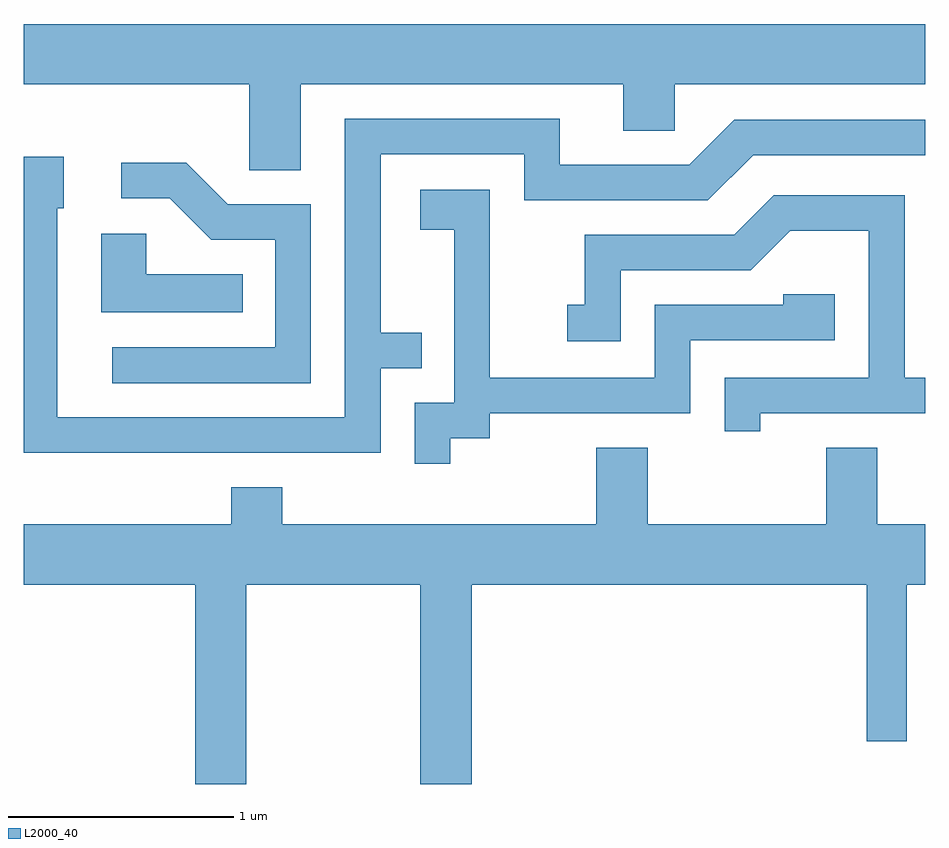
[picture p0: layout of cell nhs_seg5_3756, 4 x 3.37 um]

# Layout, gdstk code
import gdstk
lib = gdstk.Library(unit=1e-6, precision=1e-09)
def P(c, l, *ps):  # polygons
    for p in ps: c.add(gdstk.Polygon(p, *l))
L2000_40 = (2000, 40)

nhs_seg5_3756 = lib.new_cell('nhs_seg5_3756')
P(nhs_seg5_3756, L2000_40, [(295.611,1521.176),(296.611,1521.176),(296.611,1520.796),(296.839,1520.796),(296.839,1521.176),(298.271,1521.176),(298.271,1520.971),(298.499,1520.971),(298.499,1521.176),(299.611,1521.176),(299.611,1521.444),(295.611,1521.444)],
  [(297.194,1519.916),(297.378,1519.916),(297.378,1520.074),(297.194,1520.074),(297.194,1520.866),(297.831,1520.866),(297.831,1520.661),(298.647,1520.661),(298.847,1520.861),(299.611,1520.861),(299.611,1521.019),(298.764,1521.019),(298.564,1520.819),(297.989,1520.819),(297.989,1521.024),(297.036,1521.024),(297.036,1519.699),(295.759,1519.699),(295.759,1520.626),(295.789,1520.626),(295.789,1520.854),(295.611,1520.854),(295.611,1519.541),(297.194,1519.541)],
  [(296.884,1520.644),(296.517,1520.644),(296.332,1520.829),(296.043,1520.829),(296.043,1520.671),(296.259,1520.671),(296.444,1520.486),(296.726,1520.486),(296.726,1520.009),(296.003,1520.009),(296.003,1519.851),(296.884,1519.851)],
  [(297.504,1519.606),(297.679,1519.606),(297.679,1519.716),(298.569,1519.716),(298.569,1520.041),(299.209,1520.041),(299.209,1520.244),(298.981,1520.244),(298.981,1520.199),(298.411,1520.199),(298.411,1519.874),(297.679,1519.874),(297.679,1520.709),(297.371,1520.709),(297.371,1520.531),(297.521,1520.531),(297.521,1519.764),(297.346,1519.764),(297.346,1519.493),(297.504,1519.493)],
  [(298.879,1519.716),(299.611,1519.716),(299.611,1519.874),(299.519,1519.874),(299.519,1520.684),(298.939,1520.684),(298.764,1520.509),(298.101,1520.509),(298.101,1520.199),(298.023,1520.199),(298.023,1520.036),(298.259,1520.036),(298.259,1520.351),(298.837,1520.351),(299.012,1520.526),(299.361,1520.526),(299.361,1519.874),(298.721,1519.874),(298.721,1519.638),(298.879,1519.638)],
  [(296.583,1520.334),(296.154,1520.334),(296.154,1520.514),(295.956,1520.514),(295.956,1520.166),(296.583,1520.166)],
  [(296.599,1518.956),(297.371,1518.956),(297.371,1518.072),(297.599,1518.072),(297.599,1518.956),(299.351,1518.956),(299.351,1518.261),(299.529,1518.261),(299.529,1518.956),(299.611,1518.956),(299.611,1519.224),(299.399,1519.224),(299.399,1519.564),(299.171,1519.564),(299.171,1519.224),(298.379,1519.224),(298.379,1519.564),(298.151,1519.564),(298.151,1519.224),(296.759,1519.224),(296.759,1519.389),(296.531,1519.389),(296.531,1519.224),(295.611,1519.224),(295.611,1518.956),(296.371,1518.956),(296.371,1518.072),(296.599,1518.072)])

lib.write_gds('nhs_seg5_3756.gds')
